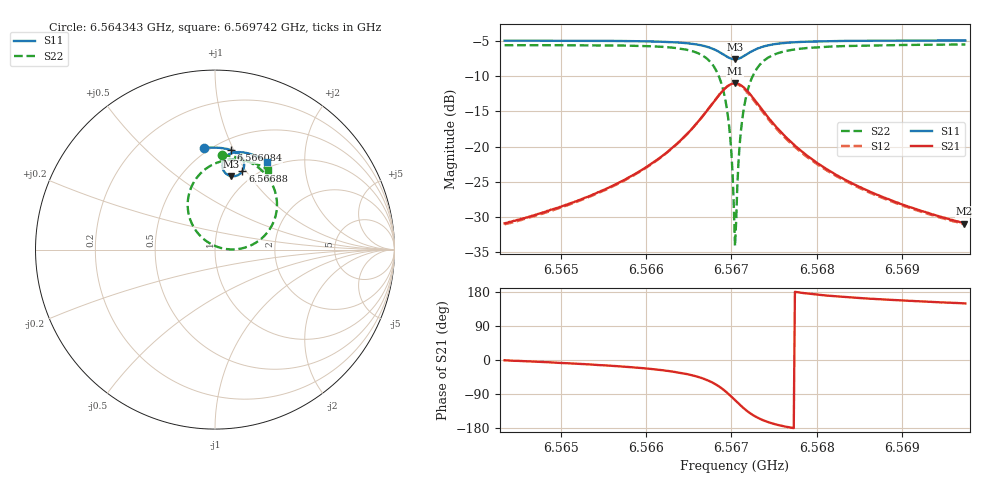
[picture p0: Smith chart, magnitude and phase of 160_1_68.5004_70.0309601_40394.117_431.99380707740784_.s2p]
#  HZ  S  RI  R  50.00
! Rohde & Schwarz Vector Network Analyzer
! Rohde-Schwarz,ZNB20-2Port,1311601062101988,3.16
! Created: UTC 3/20/2024, 4:55:45 PM
! freq[Hz]  re:S11  im:S11  re:S21  im:S21  re:S12  im:S12  re:S22  im:S22
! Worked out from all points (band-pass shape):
!   401 points, 6.564343 GHz to 6.569742 GHz, reference 50 ohm
!   highest |S21| = -10.97 dB at 6.567042 GHz (marker M1); lowest = -31.0 dB at 6.569728 GHz (marker M2)
!   |S21| within 3 dB of the highest: 6.566772 GHz to 6.567312 GHz (539.8 kHz wide, 0.00822 % of centre)
!   lowest |S11| = -7.6 dB at 6.567042 GHz (marker M3), VSWR 2.44, Z = 41.2 + j41 ohm
!   |S11| at or under -10 dB: nowhere
!   |S22| runs from -34.2 to -5.4 dB; largest |S21 - S12| = 0.014
!   S11 on the Smith chart (normalised r, x): 6.564343 GHz: 0.47, +0.78; 6.566084 GHz: 0.60, +0.97; 6.56688 GHz: 0.86, +0.96; 6.569742 GHz: 0.91, +1.32
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6.5643432e9  -0.0635 0.5657  0.0283 -0.000346  0.0279 -0.000992  0.0376 0.5267
6.5652474e9  0.0107 0.568  0.0415 -0.00778  0.0408 -0.00837  0.1239 0.5133
6.5660841e9  0.0889 0.5543  0.0701 -0.0317  0.069 -0.0325  0.2336 0.4628
6.5661516e9  0.0962 0.5517  0.0741 -0.0359  0.0728 -0.0368  0.2453 0.4539
6.5666644e9  0.1557 0.501  0.1089 -0.1234  0.1065 -0.1261  0.3433 0.283
6.5667859e9  0.1622 0.4695  0.1011 -0.1787  0.0967 -0.1822  0.3347 0.1776
6.5668804e9  0.1529 0.4378  0.0679 -0.233  0.06 -0.2363  0.2743 0.0759
6.5669614e9  0.127 0.4142  0.00621 -0.2708  -0.00486 -0.2709  0.161 0.00956
6.5669883e9  0.1146 0.41  -0.0205 -0.2764  -0.0325 -0.2747  0.1122 0.00143
6.5670288e9  0.0944 0.4088  -0.0634 -0.2751  -0.0755 -0.2702  0.0359 0.00832
6.5670423e9  0.0877 0.4098  -0.0775 -0.2719  -0.0894 -0.2657  0.0111 0.0159
6.5670558e9  0.0809 0.4118  -0.0912 -0.267  -0.1027 -0.2599  -0.0128 0.0262
6.5670693e9  0.0747 0.4144  -0.1047 -0.2609  -0.1154 -0.2529  -0.0351 0.0384
6.5670963e9  0.0633 0.4215  -0.1284 -0.2454  -0.1378 -0.2356  -0.0746 0.069
6.5671368e9  0.0503 0.4358  -0.1561 -0.2161  -0.1628 -0.2048  -0.1185 0.1245
6.5671908e9  0.0413 0.4576  -0.1773 -0.1725  -0.1802 -0.1612  -0.1479 0.2032
6.5672583e9  0.0414 0.483  -0.1833 -0.123  -0.1827 -0.113  -0.1489 0.2903
6.5675012e9  0.0788 0.5312  -0.1408 -0.0278  -0.1376 -0.0236  -0.0514 0.4498
6.5679466e9  0.1417 0.5431  -0.0805 0.00869  -0.0785 0.00978  0.0854 0.5004
6.5688508e9  0.2262 0.5227  -0.0391 0.0151  -0.038 0.0153  0.2158 0.4827
6.569728e9  0.291 0.4913  -0.0243 0.0143  -0.0238 0.0144  0.2931 0.4469
6.5697415e9  0.292 0.4908  -0.0243 0.0144  -0.0237 0.0144  0.294 0.4463
